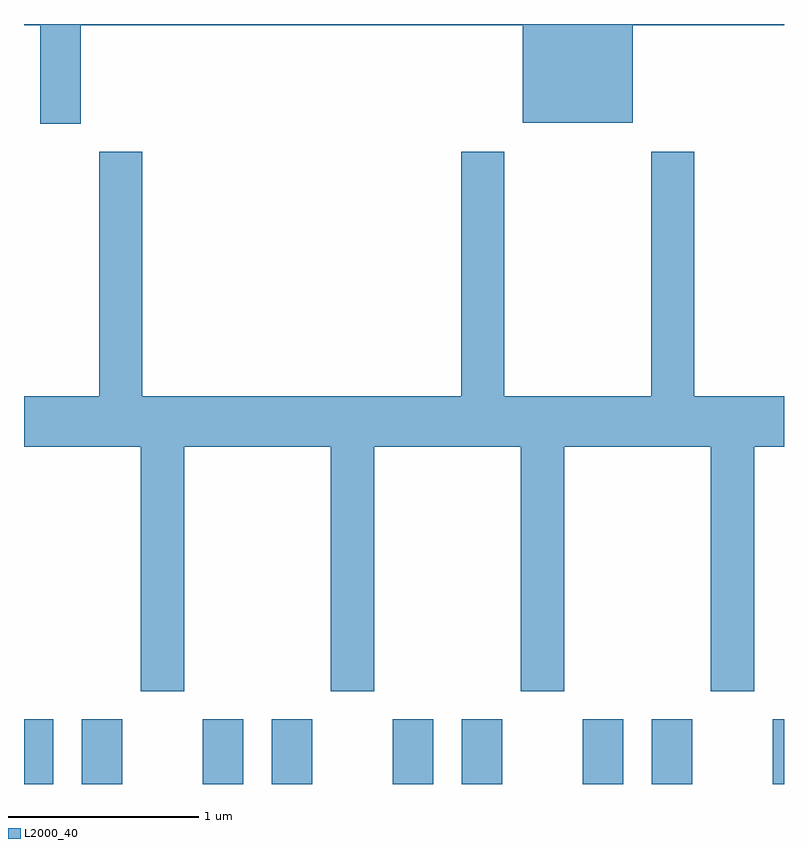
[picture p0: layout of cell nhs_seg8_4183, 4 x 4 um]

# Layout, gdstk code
import gdstk
lib = gdstk.Library(unit=1e-6, precision=1e-09)
def R(c, l, rs):  # rectangles x0, y0, x1, y1
    for r in rs: c.add(gdstk.rectangle(r[:2], r[2:], *l))
def P(c, l, *ps):  # polygons
    for p in ps: c.add(gdstk.Polygon(p, *l))
L2000_40 = (2000, 40)

nhs_seg8_4183 = lib.new_cell('nhs_seg8_4183')
R(nhs_seg8_4183, L2000_40, [(309.611,1912.342,309.764,1912.684), (309.916,1912.342,310.129,1912.684), (310.551,1912.342,310.764,1912.684), (310.916,1912.342,311.129,1912.684), (311.551,1912.342,311.764,1912.684), (311.916,1912.342,312.129,1912.684), (312.551,1912.342,312.764,1912.684), (312.916,1912.342,313.129,1912.684), (313.551,1912.342,313.611,1912.684)])
P(nhs_seg8_4183, L2000_40, [(309.611,1916.336),(309.696,1916.336),(309.696,1915.816),(309.909,1915.816),(309.909,1916.336),(312.236,1916.336),(312.236,1915.821),(312.814,1915.821),(312.814,1916.336),(313.611,1916.336),(313.611,1916.342),(309.611,1916.342)],
  [(313.139,1915.669),(312.911,1915.669),(312.911,1914.384),(312.139,1914.384),(312.139,1915.669),(311.911,1915.669),(311.911,1914.384),(310.234,1914.384),(310.234,1915.669),(310.006,1915.669),(310.006,1914.384),(309.611,1914.384),(309.611,1914.116),(310.226,1914.116),(310.226,1912.831),(310.454,1912.831),(310.454,1914.116),(311.226,1914.116),(311.226,1912.831),(311.454,1912.831),(311.454,1914.116),(312.226,1914.116),(312.226,1912.831),(312.454,1912.831),(312.454,1914.116),(313.226,1914.116),(313.226,1912.831),(313.454,1912.831),(313.454,1914.116),(313.611,1914.116),(313.611,1914.384),(313.139,1914.384)])

lib.write_gds('nhs_seg8_4183.gds')
